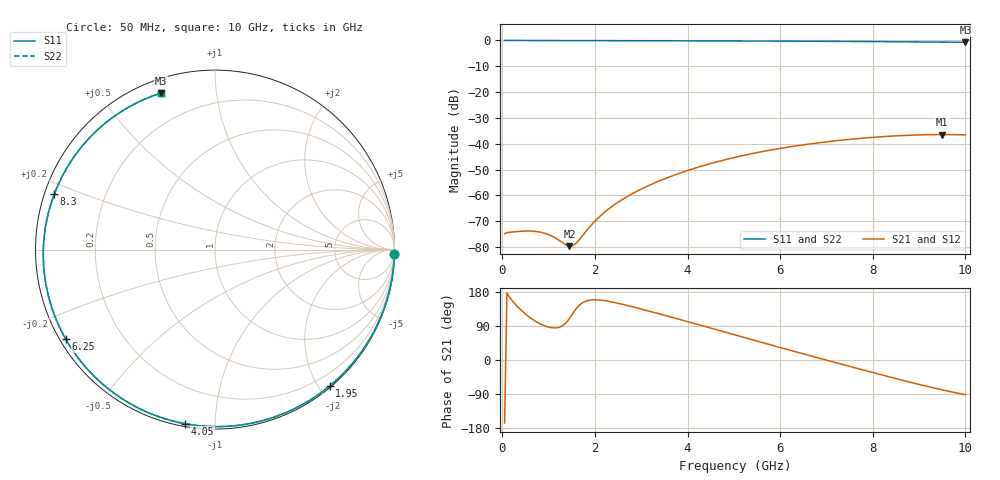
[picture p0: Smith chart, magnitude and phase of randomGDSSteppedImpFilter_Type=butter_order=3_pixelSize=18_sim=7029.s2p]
! freq	dB(S11)	phase(S11)	dB(S12)	phase(S12)
!  dB(S21)	phase(S21)	dB(S22)	phase(S22)
!S-par simulation data
#  GHz  S  DB  R 50
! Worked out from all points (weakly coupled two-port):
!   200 points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, 50 MHz to 10 GHz, reference 50 ohm
!   highest |S21| = -36.42 dB at 9.5 GHz (marker M1); lowest = -79.6 dB at 1.45 GHz (marker M2)
!   lowest |S11| = -0.7 dB at 10 GHz (marker M3), VSWR 24.74, Z = 3.04 + j35.5 ohm
!   |S11| at or under -10 dB: nowhere
!   |S22| runs from -0.7 to 0.0 dB; largest |S21 - S12| = 0
!   S11 on the Smith chart (normalised r, x): 50 MHz: 0, -87; 1.95 GHz: 0.02, -2.15; 4.05 GHz: 0.01, -0.84; 6.25 GHz: 0.02, -0.28; 8.3 GHz: 0.03, +0.17; 10 GHz: 0.06, +0.71
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0.05  -0.00 -1.3  -74.84 -166.1  -74.84 -166.1  -0.00 -1.3
0.45  -0.01 -11.8  -73.80 126.5  -73.80 126.5  -0.01 -11.8
0.8  -0.02 -20.9  -74.12 96.5  -74.12 96.5  -0.02 -20.9
1.05  -0.03 -27.3  -75.54 85.5  -75.54 85.5  -0.03 -27.3
1.45  -0.05 -37.5  -79.61 109.5  -79.61 109.5  -0.05 -37.4
1.55  -0.05 -40.0  -79.14 127.7  -79.14 127.7  -0.05 -40.0
1.75  -0.06 -45.0  -75.16 152.3  -75.16 152.3  -0.06 -45.0
1.95  -0.06 -50.0  -70.88 158.7  -70.88 158.7  -0.06 -49.9
2.2  -0.07 -56.1  -66.60 156.7  -66.60 156.7  -0.07 -56.1
2.55  -0.08 -64.6  -62.02 148.2  -62.02 148.2  -0.08 -64.6
2.95  -0.09 -74.2  -57.97 136.1  -57.97 136.1  -0.09 -74.2
3.4  -0.11 -84.8  -54.29 121.5  -54.29 121.5  -0.11 -84.8
4.05  -0.14 -99.7  -50.04 99.7  -50.04 99.7  -0.14 -99.7
5.05  -0.19 -122.2  -45.13 65.4  -45.13 65.4  -0.19 -122.2
6.25  -0.27 -149.1  -41.06 24.5  -41.06 24.5  -0.27 -149.1
6.7  -0.30 -159.4  -39.92 9.5  -39.92 9.5  -0.30 -159.4
7.55  -0.39 -179.8  -38.19 -18.5  -38.19 -18.5  -0.39 -179.7
8.3  -0.47 160.9  -37.13 -42.8  -37.13 -42.8  -0.47 160.9
8.35  -0.48 159.6  -37.07 -44.4  -37.07 -44.4  -0.48 159.6
8.95  -0.55 142.6  -36.58 -63.0  -36.58 -63.0  -0.55 142.7
9.5  -0.63 125.7  -36.42 -78.8  -36.42 -78.8  -0.63 125.8
10  -0.70 109.1  -36.54 -91.6  -36.54 -91.6  -0.70 109.1
